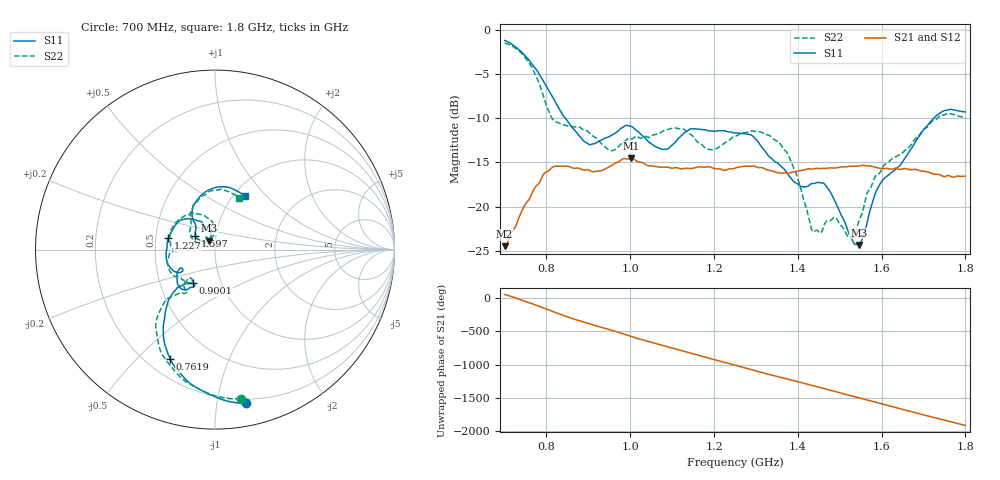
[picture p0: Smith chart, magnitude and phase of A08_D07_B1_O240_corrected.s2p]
! Created with skrf 1.9.0 (http://scikit-rf.org).
# Hz S RI R 50.0
!freq ReS11 ImS11 ReS21 ImS21 ReS12 ImS12 ReS22 ImS22
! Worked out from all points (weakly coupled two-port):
!   1601 points, 700 MHz to 1.8 GHz, reference 50 ohm
!   highest |S21| = -14.54 dB at 1.002 GHz (marker M1); lowest = -24.5 dB at 700 MHz (marker M2)
!   lowest |S11| = -24.4 dB at 1.546 GHz (marker M3), VSWR 1.13, Z = 46.5 + j4.71 ohm
!   |S11| at or under -10 dB: 845 MHz to 1.724 GHz (879.3 MHz wide, 68.4 % of centre)
!   |S22| runs from -23.6 to -1.5 dB; largest |S21 - S12| = 0.0036
!   S11 on the Smith chart (normalised r, x): 700 MHz: 0.17, -1.21; 761.9 MHz: 0.29, -0.63; 900.1 MHz: 0.73, -0.29; 1.227 GHz: 0.58, +0.08; 1.597 GHz: 0.79, +0.13; 1.8 GHz: 1.12, +0.76
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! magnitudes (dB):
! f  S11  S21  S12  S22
! 700 MHz  -1.2  -24.5  -24.3  -1.5
! 761.9 MHz  -3.6  -18.9  -18.8  -4.0
! 815.5 MHz  -7.7  -15.5  -15.6  -10.1
! 883.6 MHz  -12.3  -15.8  -15.7  -11.2
! 900.1 MHz  -12.9  -15.8  -15.9  -11.5
! 953 MHz  -12.0  -15.4  -15.4  -13.7
! 1.002 GHz  -10.9  -14.5  -14.7  -12.3
! 1.067 GHz  -13.4  -15.5  -15.5  -11.8
! 1.145 GHz  -11.2  -15.7  -15.7  -11.8
! 1.185 GHz  -11.4  -15.5  -15.6  -13.5
! 1.227 GHz  -11.4  -15.9  -15.8  -12.7
! 1.25 GHz  -11.7  -15.7  -15.6  -12.0
! 1.357 GHz  -15.3  -16.2  -16.2  -12.9
! 1.396 GHz  -17.4  -16.0  -16.0  -16.2
! 1.434 GHz  -17.4  -15.8  -15.7  -22.7
! 1.468 GHz  -17.7  -15.7  -15.7  -21.7
! 1.526 GHz  -23.4  -15.4  -15.4  -23.6
! 1.546 GHz  -24.4  -15.4  -15.4  -21.7
! 1.597 GHz  -17.4  -15.7  -15.6  -16.1
! 1.617 GHz  -16.4  -15.7  -15.7  -15.0
! 1.733 GHz  -9.6  -16.4  -16.4  -10.0
! 1.8 GHz  -9.3  -16.5  -16.5  -10.0
